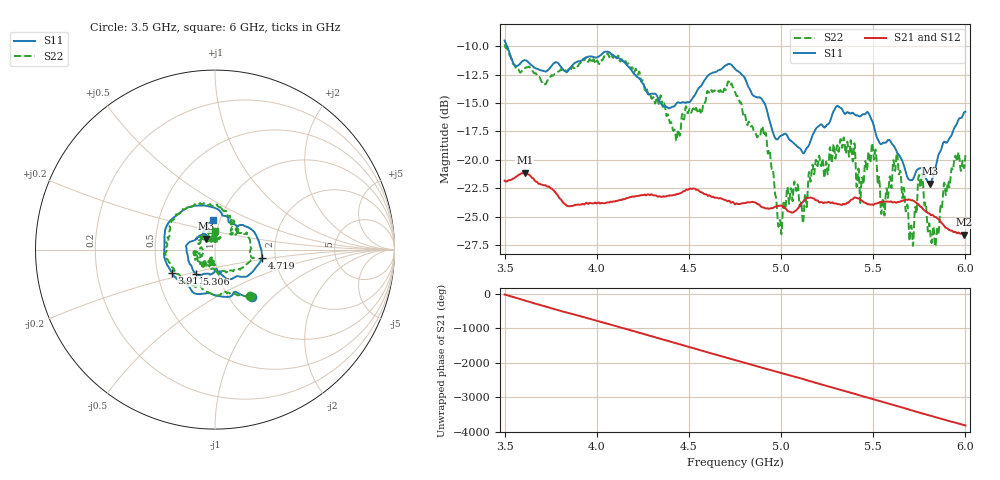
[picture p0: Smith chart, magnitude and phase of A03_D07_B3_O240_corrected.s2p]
! Created with skrf 1.9.0 (http://scikit-rf.org).
# Hz S RI R 50.0
!freq ReS11 ImS11 ReS21 ImS21 ReS12 ImS12 ReS22 ImS22
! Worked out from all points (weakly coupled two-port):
!   1601 points, 3.5 GHz to 6 GHz, reference 50 ohm
!   highest |S21| = -21.13 dB at 3.609 GHz (marker M1); lowest = -26.6 dB at 5.994 GHz (marker M2)
!   lowest |S11| = -22.1 dB at 5.808 GHz (marker M3), VSWR 1.17, Z = 45.1 + j5.61 ohm
!   |S11| at or under -10 dB: 3.514 GHz to end of sweep
!   |S22| runs from -27.6 to -9.8 dB; largest |S21 - S12| = 0.0011
!   S11 on the Smith chart (normalised r, x): 3.5 GHz: 1.26, -0.76; 3.911 GHz: 0.60, -0.17; 4.719 GHz: 1.70, -0.16; 5.306 GHz: 0.78, -0.22; 6 GHz: 0.93, +0.31
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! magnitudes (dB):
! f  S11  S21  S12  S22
! 3.5 GHz  -9.5  -21.8  -21.8  -9.8
! 3.609 GHz  -11.2  -21.1  -21.2  -12.0
! 3.911 GHz  -11.3  -24.0  -23.9  -11.5
! 3.917 GHz  -11.3  -23.9  -23.9  -11.3
! 4.334 GHz  -14.6  -23.2  -23.2  -15.1
! 4.441 GHz  -14.9  -23.0  -23.0  -17.4
! 4.719 GHz  -11.5  -23.6  -23.7  -13.2
! 4.75 GHz  -12.0  -23.9  -23.9  -14.0
! 4.909 GHz  -15.0  -24.2  -24.2  -17.9
! 4.994 GHz  -17.9  -24.0  -24.0  -25.3
! 5.167 GHz  -18.0  -23.4  -23.3  -20.8
! 5.306 GHz  -15.2  -23.9  -23.9  -18.8
! 5.438 GHz  -16.1  -23.6  -23.6  -21.6
! 5.503 GHz  -17.0  -23.9  -23.9  -20.0
! 5.552 GHz  -18.5  -23.7  -23.7  -23.5
! 5.584 GHz  -18.2  -23.7  -23.7  -22.4
! 5.636 GHz  -19.5  -23.7  -23.7  -20.7
! 5.706 GHz  -21.8  -23.6  -23.5  -25.8
! 5.758 GHz  -20.7  -24.2  -24.1  -22.3
! 5.808 GHz  -22.1  -24.8  -24.8  -26.1
! 5.994 GHz  -15.8  -26.6  -26.5  -20.7
! 6 GHz  -15.8  -26.6  -26.5  -19.6
